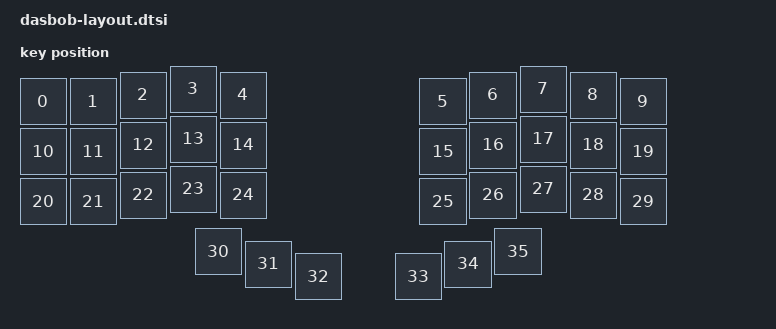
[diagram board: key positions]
#include <physical_layouts.dtsi>
#include <dt-bindings/zmk/matrix_transform.h>

/ {
    dasbob_layout: dasbob_layout {
        compatible = "zmk,physical-layout";
        display-name = "Default";


        kscan = <&kscan0>;
        transform = <&default_transform>;

        keys  //                     w   h    x    y     rot    rx    ry
            = <&key_physical_attrs 100 100    0   25       0     0     0>
            , <&key_physical_attrs 100 100  100   25       0     0     0>
            , <&key_physical_attrs 100 100  200   12       0     0     0>
            , <&key_physical_attrs 100 100  300    0       0     0     0>
            , <&key_physical_attrs 100 100  400   12       0     0     0>
            , <&key_physical_attrs 100 100  800   25       0     0     0>
            , <&key_physical_attrs 100 100  900   12       0     0     0>
            , <&key_physical_attrs 100 100 1000    0       0     0     0>
            , <&key_physical_attrs 100 100 1100   12       0     0     0>
            , <&key_physical_attrs 100 100 1200   25       0     0     0>
            , <&key_physical_attrs 100 100    0  125       0     0     0>
            , <&key_physical_attrs 100 100  100  125       0     0     0>
            , <&key_physical_attrs 100 100  200  112       0     0     0>
            , <&key_physical_attrs 100 100  300  100       0     0     0>
            , <&key_physical_attrs 100 100  400  112       0     0     0>
            , <&key_physical_attrs 100 100  800  125       0     0     0>
            , <&key_physical_attrs 100 100  900  112       0     0     0>
            , <&key_physical_attrs 100 100 1000  100       0     0     0>
            , <&key_physical_attrs 100 100 1100  112       0     0     0>
            , <&key_physical_attrs 100 100 1200  125       0     0     0>
            , <&key_physical_attrs 100 100    0  225       0     0     0>
            , <&key_physical_attrs 100 100  100  225       0     0     0>
            , <&key_physical_attrs 100 100  200  212       0     0     0>
            , <&key_physical_attrs 100 100  300  200       0     0     0>
            , <&key_physical_attrs 100 100  400  212       0     0     0>
            , <&key_physical_attrs 100 100  800  225       0     0     0>
            , <&key_physical_attrs 100 100  900  212       0     0     0>
            , <&key_physical_attrs 100 100 1000  200       0     0     0>
            , <&key_physical_attrs 100 100 1100  212       0     0     0>
            , <&key_physical_attrs 100 100 1200  225       0     0     0>
            , <&key_physical_attrs 100 100  350  325       0     0     0>
            , <&key_physical_attrs 100 100  450  350       0     0     0>
            , <&key_physical_attrs 100 100  550  375       0     0     0>
            , <&key_physical_attrs 100 100  750  375       0     0     0>
            , <&key_physical_attrs 100 100  850  350       0     0     0>
            , <&key_physical_attrs 100 100  950  325       0     0     0>
            ;
    };
    position_map {
        compatible = "zmk,physical-layout-position-map";

        dasbob_layout {
            physical-layout = <&dasbob_layout>;
            positions
            = < 0  1  2  3  4  5  6  7  8  9>
            , <10 11 12 13 14 15 16 17 18 19>
            , <20 21 22 23 24 25 26 27 28 29>
            , <      30 31 32 33 34 35      >;
        };
    };
};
